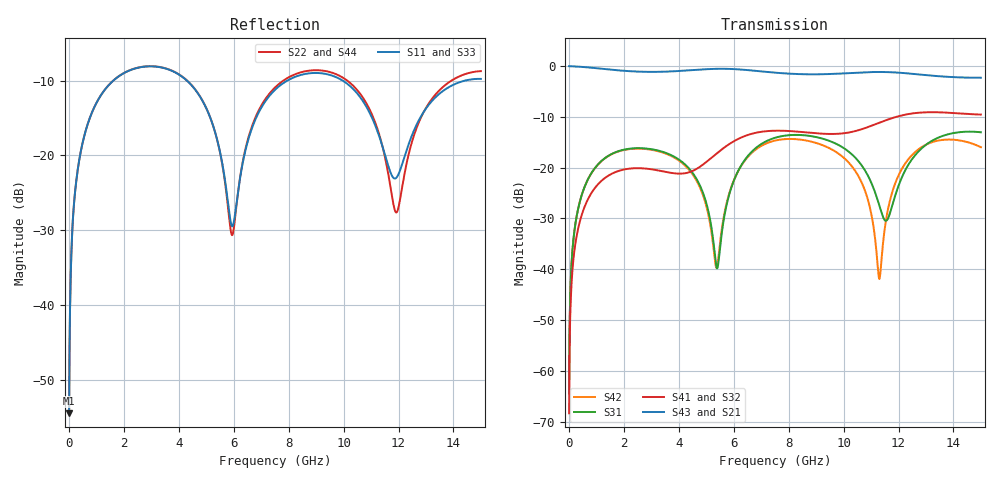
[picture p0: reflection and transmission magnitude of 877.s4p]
! Created with skrf 1.8.0 (http://scikit-rf.org).
# GHz S RI R 50.0
!freq ReS11 ImS11 ReS12 ImS12 ReS13 ImS13
! ReS14 ImS14
! ReS21 ImS21 ReS22 ImS22 ReS23 ImS23
! ReS24 ImS24
! ReS31 ImS31 ReS32 ImS32 ReS33 ImS33
! ReS34 ImS34
! ReS41 ImS41 ReS42 ImS42 ReS43 ImS43
! ReS44 ImS44
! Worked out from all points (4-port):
!   2499 points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, 5 MHz to 15 GHz, reference 50 ohm
!   strongest paths, dB at 5 MHz, 3.476 GHz, 7.19 GHz, 11.1 GHz, 15 GHz:
!     S43: 0.0, -1.1, -1.1, -1.2, -2.3
!     S21: 0.0, -1.1, -1.1, -1.2, -2.3
!     S41: -68.4, -20.8, -12.8, -11.6, -9.5
!     S32: -68.4, -20.9, -12.9, -11.6, -9.7
!     S31: -64.4, -17.0, -14.8, -24.1, -13.0
!     S42: -64.4, -17.1, -15.2, -31.9, -16.0
!   lowest |S11| = -54.4 dB at 5 MHz (marker M1), VSWR 1.00, Z = 50.2 + j0.115 ohm
!   |S11| at or under -10 dB: start of sweep to 1.616 GHz; 4.292 GHz to 7.952 GHz (3.66 GHz wide, 59.8 % of centre); 9.964 GHz to 14.43 GHz (4.462 GHz wide, 36.6 % of centre)
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0.005  0.00151 0.00115  0.9985 -0.00294  7.55e-05 0.000598  -7.34e-05 -0.000375
       0.9985 -0.00294  0.00151 0.00115  -7.33e-05 -0.000375  7.55e-05 0.000599
       7.55e-05 0.000598  -7.33e-05 -0.000375  0.00151 0.00115  0.9985 -0.00294
       -7.34e-05 -0.000375  7.55e-05 0.000599  0.9985 -0.00294  0.00151 0.00115
0.3126303  0.0209 0.0761  0.9715 -0.1836  0.00957 0.0358  -0.0079 -0.0223
           0.9715 -0.1836  0.021 0.0761  -0.00789 -0.0223  0.00938 0.0359
           0.00957 0.0358  -0.00789 -0.0223  0.0209 0.0761  0.9715 -0.1836
           -0.0079 -0.0223  0.00938 0.0359  0.9715 -0.1836  0.021 0.0761
1.569404  0.2484 0.1864  0.5944 -0.7023  0.1206 0.0653  -0.0864 -0.0134
          0.5944 -0.7023  0.2494 0.1858  -0.0862 -0.0137  0.1181 0.0683
          0.1206 0.0653  -0.0862 -0.0137  0.2485 0.1863  0.5945 -0.7023
          -0.0864 -0.0134  0.1181 0.0683  0.5945 -0.7023  0.2493 0.1859
5.764902  0.0355 -0.0393  -0.9271 -0.1522  -0.00376 0.0459  -0.0218 0.1644
          -0.9271 -0.1522  0.0309 -0.0391  -0.0264 0.1638  -0.00882 0.0468
          -0.00376 0.0459  -0.0264 0.1638  0.0346 -0.0391  -0.9271 -0.1524
          -0.0218 0.1644  -0.00882 0.0468  -0.9271 -0.1524  0.0317 -0.0391
9.303877  0.3489 -0.0428  0.0362 0.8315  0.1517 -0.1156  0.1989 -0.0831
          0.0362 0.8315  0.3616 -0.0637  0.1992 -0.0724  0.151 -0.0633
          0.1517 -0.1156  0.1992 -0.0724  0.3496 -0.0464  0.0358 0.8319
          0.1989 -0.0831  0.151 -0.0633  0.0358 0.8319  0.359 -0.0602
11.30471  0.098 -0.0901  0.772 0.4123  -0.0323 -0.0271  0.1151 -0.2523
          0.772 0.4123  0.0761 -0.1136  0.1306 -0.2445  -0.00798 -0.000955
          -0.0323 -0.0271  0.1306 -0.2445  0.092 -0.0918  0.7721 0.4127
          0.1151 -0.2523  -0.00798 -0.000955  0.7721 0.4127  0.0802 -0.1099
15  0.3244 0.00617  0.1397 -0.7549  0.1596 -0.156  -0.3328 0.0193
    0.1397 -0.7549  0.3655 -0.00518  -0.3286 -0.00611  0.1448 -0.0658
    0.1596 -0.156  -0.3286 -0.00611  0.3268 0.00142  0.1412 -0.7557
    -0.3328 0.0193  0.1448 -0.0658  0.1412 -0.7557  0.359 -0.00255
